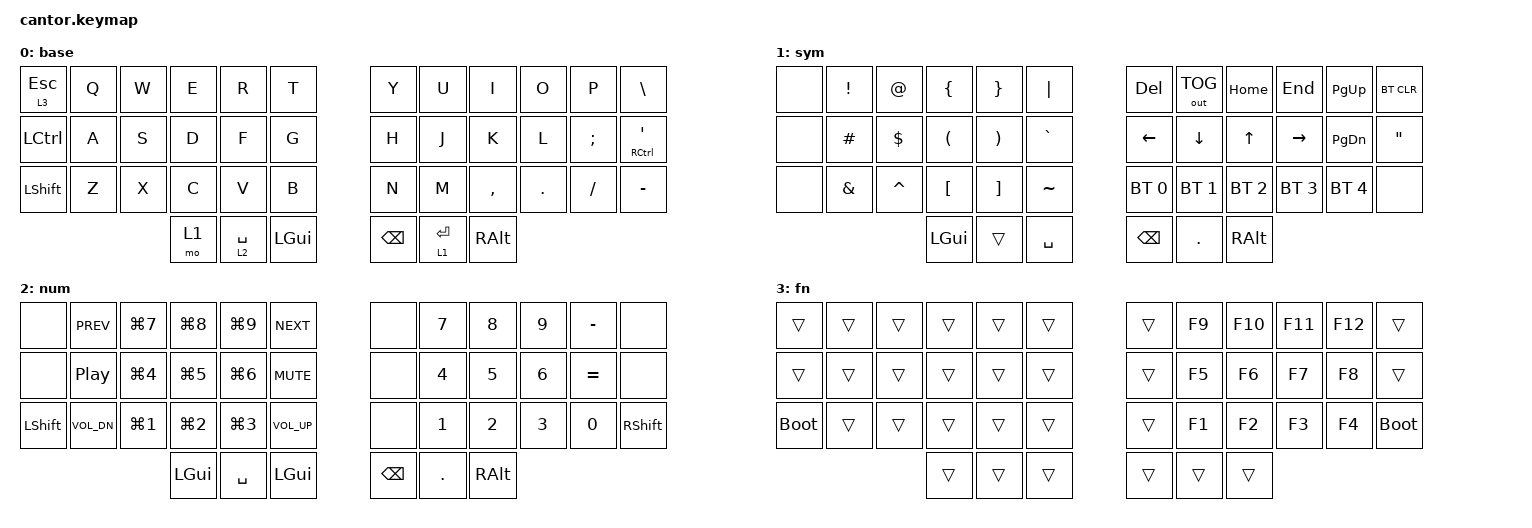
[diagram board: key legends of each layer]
/*
 * Copyright (c) 2020 The ZMK Contributors
 *
 * SPDX-License-Identifier: MIT
 */

#include <behaviors.dtsi>
#include <dt-bindings/zmk/bt.h>
#include <dt-bindings/zmk/keys.h>
#include <dt-bindings/zmk/outputs.h>

/ {
    behaviors {
        // Layer-tap that holds as soon as another key is tapped under it; tap-then-hold repeats the key.
        lt_thumb: lt_thumb {
            compatible = "zmk,behavior-hold-tap";
            #binding-cells = <2>;
            flavor = "balanced";
            tapping-term-ms = <200>;
            quick-tap-ms = <175>;
            bindings = <&mo>, <&kp>;
        };

        // Mod-tap counterpart of lt_thumb.
        mt_fast: mt_fast {
            compatible = "zmk,behavior-hold-tap";
            #binding-cells = <2>;
            flavor = "balanced";
            tapping-term-ms = <200>;
            quick-tap-ms = <175>;
            bindings = <&kp>, <&kp>;
        };
    };

    combos {
        compatible = "zmk,combos";

        terminal {
            bindings = <&kp LG(ENTER)>;
            key-positions = <18 19>;
            timeout-ms = <40>;
            require-prior-idle-ms = <150>;
        };

        rofi {
            bindings = <&kp LG(SPACE)>;
            key-positions = <16 17>;
            timeout-ms = <40>;
            require-prior-idle-ms = <150>;
        };

        firefox-home {
            bindings = <&kp LG(LS(H))>;
            key-positions = <18 16>;
            timeout-ms = <40>;
            require-prior-idle-ms = <150>;
        };

        firefox-work {
            bindings = <&kp LG(LS(W))>;
            key-positions = <2 16>;
            timeout-ms = <40>;
            require-prior-idle-ms = <150>;
        };

        asterix {
            bindings = <&kp ASTERISK>;
            key-positions = <4 5>;
            timeout-ms = <40>;
            require-prior-idle-ms = <150>;
        };

        num_layer_oneshot {
            bindings = <&sl 2>;
            key-positions = <8 9>;
            timeout-ms = <40>;
            require-prior-idle-ms = <150>;
        };

        tab {
            bindings = <&kp TAB>;
            key-positions = <14 15>;
            timeout-ms = <40>;
            require-prior-idle-ms = <150>;
        };

        esc {
            bindings = <&kp ESCAPE>;
            key-positions = <19 20>;
            timeout-ms = <40>;
            require-prior-idle-ms = <150>;
        };
    };

    keymap {

        compatible = "zmk,keymap";

        base {
            // -------------------------------------------------------------------------------
            // | ESC/FN |  Q  |  W  |  E  |  R  |  T  |   |  Y  |  U  |  I  |  O  |  P  |  \     |
            // | CTRL   |  A  |  S  |  D  |  F  |  G  |   |  H  |  J  |  K  |  L  |  ;  | '/CTRL |
            // | SHFT   |  Z  |  X  |  C  |  V  |  B  |   |  N  |  M  |  ,  |  .  |  /  |  -     |
            //                     | SYM | SPC/NUM | GUI |   | BSPC | ENT/SYM | ALT |

            bindings = <
&lt_thumb 3 ESCAPE &kp Q  &kp W  &kp E  &kp R              &kp T       &kp Y     &kp U              &kp I      &kp O    &kp P          &kp BACKSLASH
&kp LCTRL  &kp A  &kp S  &kp D  &kp F              &kp G       &kp H     &kp J              &kp K      &kp L    &kp SEMICOLON  &mt_fast RCTRL SINGLE_QUOTE
&kp LSHFT  &kp Z  &kp X  &kp C  &kp V              &kp B       &kp N     &kp M              &kp COMMA  &kp DOT  &kp FSLH       &kp MINUS
                         &mo 1  &lt_thumb 2 SPACE  &kp LGUI    &kp BSPC  &lt_thumb 1 ENTER  &kp RALT
            >;

            label = "base";
        };

        symbols {
            // -------------------------------------------------------------------------------
            // |      |  !  |  @  |  {  |  }  |  |  |   | DEL | OUT  | HOME | END | PGUP | BTCLR |
            // |      |  #  |  $  |  (  |  )  |  `  |   | LFT | DWN  |  UP  | RGT | PGDN |  "    |
            // |      |  &  |  ^  |  [  |  ]  |  ~  |   | BT0 | BT1  | BT2  | BT3 | BT4  |       |
            //                    | GUI |     | SPC |   | BSPC |  .  | ALT |

            bindings = <
&none  &kp EXCLAMATION  &kp AT_SIGN  &kp LEFT_BRACE        &kp RIGHT_BRACE        &kp PIPE     &kp DELETE     &out OUT_TOG  &kp HOME      &kp END       &kp PG_UP     &bt BT_CLR
&none  &kp HASH         &kp DOLLAR   &kp LEFT_PARENTHESIS  &kp RIGHT_PARENTHESIS  &kp GRAVE    &kp LEFT       &kp DOWN      &kp UP        &kp RIGHT     &kp PG_DN     &kp DOUBLE_QUOTES
&none  &kp AMPERSAND    &kp CARET    &kp LEFT_BRACKET      &kp RIGHT_BRACKET      &kp TILDE    &bt BT_SEL 0   &bt BT_SEL 1  &bt BT_SEL 2  &bt BT_SEL 3  &bt BT_SEL 4  &none
                                     &kp LGUI              &trans                 &kp SPACE    &kp BACKSPACE  &kp DOT       &kp RALT
            >;

            label = "sym";
        };

        numbers {
            // -------------------------------------------------------------------------------
            // |      | PREV | G-7 | G-8 | G-9 | NEXT |   |     |  7  |  8  |  9  |  -  |      |
            // |      | PLAY | G-4 | G-5 | G-6 | MUTE |   |     |  4  |  5  |  6  |  =  |      |
            // | SHFT | VOL- | G-1 | G-2 | G-3 | VOL+ |   |     |  1  |  2  |  3  |  0  | SHFT |
            //                     | GUI | SPC  | GUI  |   | BSPC |  .  | ALT |

            bindings = <
&none      &kp C_PREV     &kp LG(NUMBER_7)  &kp LG(NUMBER_8)  &kp LG(NUMBER_9)  &kp C_NEXT    &none     &kp NUMBER_7  &kp NUMBER_8  &kp NUMBER_9  &kp MINUS     &none
&none      &kp C_PP       &kp LG(NUMBER_4)  &kp LG(NUMBER_5)  &kp LG(NUMBER_6)  &kp C_MUTE    &none     &kp NUMBER_4  &kp NUMBER_5  &kp NUMBER_6  &kp EQUAL     &none
&kp LSHFT  &kp C_VOL_DN   &kp LG(NUMBER_1)  &kp LG(NUMBER_2)  &kp LG(NUMBER_3)  &kp C_VOL_UP  &none     &kp NUMBER_1  &kp NUMBER_2  &kp NUMBER_3  &kp NUMBER_0  &kp RSHFT
                                            &kp LGUI          &kp SPACE         &kp LGUI      &kp BSPC  &kp DOT       &kp RALT
            >;

            label = "num";
        };

        functions {
            // -------------------------------------------------------------------------------
            // |      |     |     |     |     |     |   |     | F9  | F10 | F11 | F12 |      |
            // |      |     |     |     |     |     |   |     | F5  | F6  | F7  | F8  |      |
            // | BOOT |     |     |     |     |     |   |     | F1  | F2  | F3  | F4  | BOOT |
            //                    |     |     |     |   |     |     |     |

            bindings = <
&trans  &trans  &trans  &trans  &trans  &trans    &trans  &kp F9  &kp F10  &kp F11  &kp F12  &trans
&trans  &trans  &trans  &trans  &trans  &trans    &trans  &kp F5  &kp F6   &kp F7   &kp F8   &trans
&bootloader  &trans  &trans  &trans  &trans  &trans    &trans  &kp F1  &kp F2   &kp F3   &kp F4   &bootloader
                             &trans  &trans  &trans    &trans  &trans  &trans
            >;

            label = "fn";
        };
    };
};
